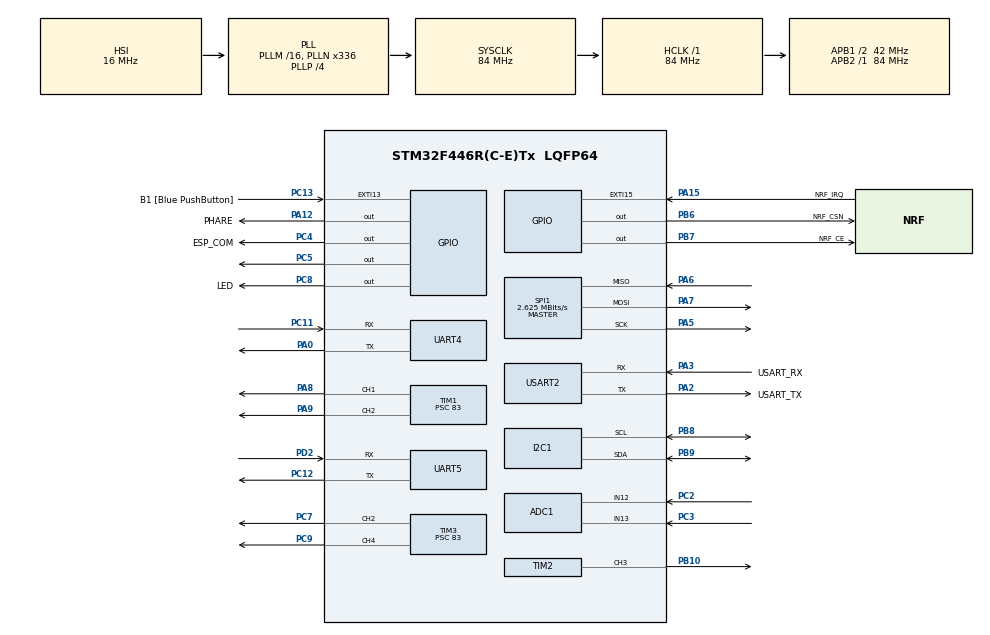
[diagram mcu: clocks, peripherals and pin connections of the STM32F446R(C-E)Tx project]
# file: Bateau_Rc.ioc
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ADC1.Channel-0\#ChannelRegularConversion=ADC_CHANNEL_13
ADC1.Channel-1\#ChannelRegularConversion=ADC_CHANNEL_12
ADC1.ContinuousConvMode=ENABLE
ADC1.DMAContinuousRequests=ENABLE
ADC1.NbrOfConversion=2
ADC1.NbrOfConversionFlag=1
ADC1.Rank-0\#ChannelRegularConversion=1
ADC1.Rank-1\#ChannelRegularConversion=2
ADC1.SamplingTime-0\#ChannelRegularConversion=ADC_SAMPLETIME_480CYCLES
ADC1.SamplingTime-1\#ChannelRegularConversion=ADC_SAMPLETIME_480CYCLES
ADC1.master=1
Dma.ADC1.1.Direction=DMA_PERIPH_TO_MEMORY
Dma.ADC1.1.FIFOMode=DMA_FIFOMODE_DISABLE
Dma.ADC1.1.Instance=DMA2_Stream0
Dma.ADC1.1.MemDataAlignment=DMA_MDATAALIGN_HALFWORD
Dma.ADC1.1.MemInc=DMA_MINC_ENABLE
Dma.ADC1.1.Mode=DMA_CIRCULAR
Dma.ADC1.1.PeriphDataAlignment=DMA_PDATAALIGN_HALFWORD
Dma.ADC1.1.PeriphInc=DMA_PINC_DISABLE
Dma.ADC1.1.Priority=DMA_PRIORITY_LOW
Dma.Request0=UART4_RX
Dma.Request1=ADC1
Dma.UART4_RX.0.Direction=DMA_PERIPH_TO_MEMORY
Dma.UART4_RX.0.FIFOMode=DMA_FIFOMODE_DISABLE
Dma.UART4_RX.0.Instance=DMA1_Stream2
Dma.UART4_RX.0.MemDataAlignment=DMA_MDATAALIGN_BYTE
Dma.UART4_RX.0.MemInc=DMA_MINC_ENABLE
Dma.UART4_RX.0.Mode=DMA_CIRCULAR
Dma.UART4_RX.0.PeriphDataAlignment=DMA_PDATAALIGN_BYTE
Dma.UART4_RX.0.PeriphInc=DMA_PINC_DISABLE
Dma.UART4_RX.0.Priority=DMA_PRIORITY_MEDIUM
FREERTOS.Tasks01=defaultTask,24,128,StartDefaultTask,Default,NULL,Dynamic,NULL,NULL
FREERTOS.configUSE_NEWLIB_REENTRANT=1
Mcu.Family=STM32F4
Mcu.Name=STM32F446R(C-E)Tx
Mcu.Package=LQFP64
NVIC.DMA1_Stream2_IRQn=true\:5\:0\:false\:false\:true\:true\:false\:true\:true
NVIC.DMA2_Stream0_IRQn=true\:5\:0\:false\:false\:true\:true\:false\:true\:true
NVIC.EXTI15_10_IRQn=true\:5\:0\:false\:false\:true\:true\:true\:true\:true
NVIC.PriorityGroup=NVIC_PRIORITYGROUP_4
NVIC.UART4_IRQn=true\:5\:0\:false\:false\:true\:true\:true\:true\:true
PA0-WKUP.Mode=Asynchronous
PA0-WKUP.Signal=UART4_TX
PA12.GPIO_Label=PHARE
PA12.GPIO_PuPd=GPIO_PULLDOWN
PA12.GPIO_Speed=GPIO_SPEED_FREQ_HIGH
PA12.Signal=GPIO_Output
PA13.Signal=SYS_JTMS-SWDIO
PA14.Signal=SYS_JTCK-SWCLK
PA15.GPIO_Label=NRF_IRQ
PA15.GPIO_ModeDefaultEXTI=GPIO_MODE_IT_RISING
PA15.Signal=GPXTI15
PA2.GPIO_Label=USART_TX
PA2.Mode=Asynchronous
PA2.Signal=USART2_TX
PA3.GPIO_Label=USART_RX
PA3.Mode=Asynchronous
PA3.Signal=USART2_RX
PA5.GPIO_Mode=GPIO_MODE_AF_PP
PA5.Mode=Full_Duplex_Master
PA5.Signal=SPI1_SCK
PA6.Mode=Full_Duplex_Master
PA6.Signal=SPI1_MISO
PA7.Mode=Full_Duplex_Master
PA7.Signal=SPI1_MOSI
PA8.Signal=S_TIM1_CH1
PA9.Signal=S_TIM1_CH2
PB10.Signal=S_TIM2_CH3
PB14.Signal=S_TIM12_CH1
PB3.GPIO_Label=SWO
PB3.Signal=SYS_JTDO-SWO
PB6.GPIO_Label=NRF_CSN
PB6.GPIO_Speed=GPIO_SPEED_FREQ_HIGH
PB6.PinState=GPIO_PIN_SET
PB6.Signal=GPIO_Output
PB7.GPIO_Label=NRF_CE
PB7.GPIO_Speed=GPIO_SPEED_FREQ_HIGH
PB7.Signal=GPIO_Output
PB8.Mode=I2C
PB8.Signal=I2C1_SCL
PB9.Mode=I2C
PB9.Signal=I2C1_SDA
PC11.Mode=Asynchronous
PC11.Signal=UART4_RX
PC12.Mode=Asynchronous
PC12.Signal=UART5_TX
PC13.GPIO_Label=B1 [Blue PushButton]
PC13.GPIO_ModeDefaultEXTI=GPIO_MODE_IT_FALLING
PC13.Signal=GPXTI13
PC15-OSC32_OUT.Signal=RCC_OSC32_OUT
PC2.Signal=SharedAnalog_PC2
PC3.Signal=SharedAnalog_PC3
PC4.GPIO_Label=ESP_COM
PC4.GPIO_ModeDefaultOutputPP=GPIO_MODE_OUTPUT_PP
PC4.GPIO_PuPd=GPIO_NOPULL
PC4.GPIO_Speed=GPIO_SPEED_FREQ_HIGH
PC4.PinState=GPIO_PIN_RESET
PC4.Signal=GPIO_Output
PC5.Signal=GPIO_Output
PC7.Signal=S_TIM3_CH2
PC8.GPIO_Label=LED
PC8.GPIO_PuPd=GPIO_PULLDOWN
PC8.GPIO_Speed=GPIO_SPEED_FREQ_HIGH
PC8.Signal=GPIO_Output
PC9.Signal=S_TIM3_CH4
PD2.Mode=Asynchronous
PD2.Signal=UART5_RX
PH0-OSC_IN.Mode=HSE-External-Oscillator
PH0-OSC_IN.Signal=RCC_OSC_IN
PH1-OSC_OUT.Mode=HSE-External-Oscillator
PH1-OSC_OUT.Signal=RCC_OSC_OUT
ProjectManager.HeapSize=0x200
ProjectManager.StackSize=0x400
ProjectManager.TargetToolchain=STM32CubeIDE
RCC.48MHZClocksFreq_Value=84000000
RCC.AHBFreq_Value=84000000
RCC.APB1CLKDivider=RCC_HCLK_DIV2
RCC.APB1Freq_Value=42000000
RCC.APB1TimFreq_Value=84000000
RCC.APB2Freq_Value=84000000
RCC.APB2TimFreq_Value=84000000
RCC.CortexFreq_Value=84000000
RCC.FLatency-AdvancedSettings=FLASH_LATENCY_2
RCC.HCLKFreq_Value=84000000
RCC.HSE_VALUE=8000000
RCC.HSI_VALUE=16000000
RCC.PLLN=336
RCC.PLLP=RCC_PLLP_DIV4
RCC.SYSCLKFreq_VALUE=84000000
RCC.SYSCLKSource=RCC_SYSCLKSOURCE_PLLCLK
RCC.USBFreq_Value=168000000
RCC.VCOOutputFreq_Value=336000000
SH.S_TIM12_CH1.0=TIM12_CH1
SH.S_TIM1_CH1.0=TIM1_CH1,PWM Generation1 CH1
SH.S_TIM1_CH2.0=TIM1_CH2,PWM Generation2 CH2
SH.S_TIM2_CH3.0=TIM2_CH3,PWM Generation3 CH3
SH.S_TIM3_CH2.0=TIM3_CH2,PWM Generation2 CH2
SH.S_TIM3_CH4.0=TIM3_CH4,PWM Generation4 CH4
SH.SharedAnalog_PC2.0=GPIO_Analog
SH.SharedAnalog_PC2.1=ADC1_IN12,IN12
SH.SharedAnalog_PC3.0=GPIO_Analog
SH.SharedAnalog_PC3.1=ADC1_IN13,IN13
SPI1.BaudRatePrescaler=SPI_BAUDRATEPRESCALER_32
SPI1.CalculateBaudRate=2.625 MBits/s
SPI1.Direction=SPI_DIRECTION_2LINES
SPI1.Mode=SPI_MODE_MASTER
SPI1.VirtualType=VM_MASTER
TIM1.Channel-PWM\ Generation1\ CH1=TIM_CHANNEL_1
TIM1.Channel-PWM\ Generation2\ CH2=TIM_CHANNEL_2
TIM1.Period=20000
TIM1.Prescaler=83
TIM2.Channel-PWM\ Generation3\ CH3=TIM_CHANNEL_3
TIM3.Channel-PWM\ Generation2\ CH2=TIM_CHANNEL_2
TIM3.Channel-PWM\ Generation4\ CH4=TIM_CHANNEL_4
TIM3.Period=20000
TIM3.Prescaler=83
UART4.VirtualMode=Asynchronous
UART5.VirtualMode=Asynchronous
USART2.VirtualMode=VM_ASYNC
VP_FREERTOS_VS_CMSIS_V2.Mode=CMSIS_V2
board=NUCLEO-F446RE

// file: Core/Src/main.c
/* USER CODE BEGIN Header */
/**
  ******************************************************************************
  * @file           : main.c
  * @brief          : Main program body - RECEIVER NRF24L01+
  ******************************************************************************
  */
/* USER CODE END Header */
#include "main.h"
#include "cmsis_os.h"

/* USER CODE BEGIN Includes */
#include "nrf.h"
#include <stdio.h>
#include <string.h>
#include "motor.h"
#include "log.h"
#include "rtos_task.h"
#include "gy271.h"
#include "esp_com.h"

/* USER CODE END Includes */

/* USER CODE BEGIN PD */
#define RF_CHANNEL      76
#define DATA_RATE       0
#define TX_POWER        3
#define PAYLOAD_SIZE    32
#define TIMEOUT 5000
#define TIMEOUT_NRF 5
uint8_t TIMEOUT_INA=3;
QMC5883P_t mag;
QMC5883P_Data_t magData;

/* USER CODE END PD */

ADC_HandleTypeDef hadc1;
DMA_HandleTypeDef hdma_adc1;

I2C_HandleTypeDef hi2c1;

SPI_HandleTypeDef hspi1;

TIM_HandleTypeDef htim1;
TIM_HandleTypeDef htim2;
TIM_HandleTypeDef htim3;

UART_HandleTypeDef huart4;
UART_HandleTypeDef huart5;
UART_HandleTypeDef huart2;
DMA_HandleTypeDef hdma_uart4_rx;

/* Definitions for defaultTask */
osThreadId_t defaultTaskHandle;
const osThreadAttr_t defaultTask_attributes = {
  .name = "defaultTask",
  .stack_size = 128 * 4,
  .priority = (osPriority_t) osPriorityNormal,
};
/* USER CODE BEGIN PV */
uint8_t rx_address[5] = {0xE6, 0xE6, 0xE6, 0xE6, 0xE6};
uint32_t packets_received = 0;
uint32_t last_received_time = 0;

uint8_t config, status, fifo, en_aa, en_rxaddr;
uint8_t rx_addr_p0[5];
uint8_t isConnected = 0;

/* USER CODE END PV */

void SystemClock_Config(void);
static void MX_GPIO_Init(void);
static void MX_DMA_Init(void);
static void MX_USART2_UART_Init(void);
static void MX_SPI1_Init(void);
static void MX_TIM3_Init(void);
static void MX_TIM1_Init(void);
static void MX_TIM2_Init(void);
static void MX_I2C1_Init(void);
static void MX_UART4_Init(void);
static void MX_ADC1_Init(void);
static void MX_UART5_Init(void);
void StartDefaultTask(void *argument);

/* USER CODE BEGIN 0 */

#ifdef __GNUC__
int __io_putchar(int ch)
{
    HAL_UART_Transmit(&huart2, (uint8_t *)&ch, 1, HAL_MAX_DELAY);
    return ch;
}
#endif

int _write(int file, char *ptr, int len) {
    HAL_UART_Transmit(&huart2, (uint8_t*)ptr, len, HAL_MAX_DELAY);
    return len;
}

void init_tim(void){
	HAL_TIM_PWM_Start(&htim3, TIM_CHANNEL_2);
	HAL_TIM_PWM_Start(&htim1, TIM_CHANNEL_2);
	HAL_TIM_PWM_Start(&htim1, TIM_CHANNEL_1);
	HAL_TIM_PWM_Start(&htim3, TIM_CHANNEL_4);
	HAL_TIM_PWM_Start(&htim2, TIM_CHANNEL_3);
}

void I2C_Scan(I2C_HandleTypeDef *hi2c)
{
    printf("Scanning I2C bus:\r\n");
    HAL_StatusTypeDef result;
    uint8_t found = 0;

    for(uint8_t i = 1; i < 128; i++)
    {
        result = HAL_I2C_IsDeviceReady(hi2c, (uint16_t)(i << 1), 2, 10);

        if(result == HAL_OK)
        {
            printf("Device found at address: 0x%02X\r\n", i);
            found++;
        }
    }

    if(found == 0)
    {
        printf("No I2C devices found!\r\n");
    }
    else
    {
        printf("Total devices: %d\r\n", found);
    }
}

void SetServoStarting(uint8_t gauche, uint8_t droit, uint8_t bas){
	Servo_SetAngleGauche(gauche);
	Servo_SetAngleDroit(droit);
	Servo_SetAngleBas(bas);
}

uint8_t InitNrf(void){
	LOG_INFO("\r\n========================================\r\n");
	LOG_INFO("     NRF24L01+ - MODE RECEIVER\r\n");
	LOG_INFO("============================================\r\n");
	HAL_Delay(500);
	LOG_INFO("Initialisation NRF24...\r\n");
	  if (nrf24_init(RF_CHANNEL, DATA_RATE, TX_POWER) != 0) {
	      LOG_ERROR("ERROR INIT NRF24\r\n");
	      return 0;
	  }
	  HAL_Delay(100);
	  nrf24_set_rx_address(nrf24_rx_address, 0);
	  nrf24_set_tx_address(nrf24_rx_address);
	  if (HAL_GPIO_ReadPin(NRF_CE_GPIO_Port, NRF_CE_Pin) == GPIO_PIN_RESET) {
	      LOG_INFO("CE: LOW (OK - standby mode)\r\n");  // ← C'EST NORMAL
	  } else {
	      LOG_ERROR("CE: HIGH (ERROR!) - forcing LOW\r\n");
	      HAL_GPIO_WritePin(NRF_CE_GPIO_Port, NRF_CE_Pin, GPIO_PIN_RESET);
	  }
	  nrf24_start_listening();
	  HAL_GPIO_WritePin(GPIOA, GPIO_PIN_12, GPIO_PIN_RESET);

	  return 1;
}

/* USER CODE END 0 */

int main(void)
{

  /* USER CODE BEGIN 1 */
	uint8_t counter_nrf = 0;
  /* USER CODE END 1 */

  /* MCU Configuration--------------------------------------------------------*/

  /* Reset of all peripherals, Initializes the Flash interface and the Systick. */
  HAL_Init();

  /* Configure the system clock */
  SystemClock_Config();

  /* Initialize all configured peripherals */
  MX_GPIO_Init();
  MX_DMA_Init();
  MX_USART2_UART_Init();
  MX_SPI1_Init();
  MX_TIM3_Init();
  MX_TIM1_Init();
  MX_TIM2_Init();
  MX_I2C1_Init();
  MX_UART4_Init();
  MX_ADC1_Init();
  MX_UART5_Init();
  /* USER CODE BEGIN 2 */

  init_tim();
  HAL_Delay(100);
  SetServoStarting(90, 0, 0);
  //ESC_ZTW_Force_Calibration();
  ESC_Initialize();
  //ESC_ZTW_EnterProgramMode();
  //ESC_ZTW_Set_RunningMode_Value2();
  //ESC_ZTW_Calibration_Bidirectional();
  LOG_INFO("PASS");
  do{
	  isConnected = InitNrf();
	  counter_nrf ++;
	  HAL_Delay(150);
	  printf("ERROR %u", counter_nrf);
  }
  while(!isConnected && counter_nrf < TIMEOUT_NRF);
  if(!isConnected)Error_Handler();
  if (QMC5883P_Init(&mag, &hi2c1) != QMC_OK)
      {
	  printf("ERROR");
          Error_Handler();
      }
  QMC5883P_SetHardIronOffsets(&mag, -0.14f, 0.02f, -0.39f);
  QMC5883P_SetSoftIronScales(&mag, 0.838f, 0.753f, 2.087f);
  printf("DONE");
  //CompassCalibration();
  /* USER CODE END 2 */

  /* Init scheduler */
  osKernelInitialize();

  /* USER CODE BEGIN RTOS_QUEUES */
  /* add queues, ... */
  nrfMutex = osMutexNew(&nrfMutex_attributes);
  InitQueue();
  /* USER CODE END RTOS_QUEUES */

  /* Create the thread(s) */
  /* creation of defaultTask */
  defaultTaskHandle = osThreadNew(StartDefaultTask, NULL, &defaultTask_attributes);

  /* USER CODE BEGIN RTOS_THREADS */
  /* add threads, ... */
  ListeningNrfHandle = osThreadNew(ListeningNrf, NULL, &listener_attr);
  //DebugNrfFifoHandle = osThreadNew(DebugFifoNrf, NULL, &debugfifo_attr);
  MotorTaskHandle = osThreadNew(MotorTask, NULL, &Motor_Attributes);
  WatchDogNRFHandle = osThreadNew(WatchDogNrfTask, NULL, &watchDogNRF_attributes);
  CompassHandle = osThreadNew(CompassTask, NULL, &compass_attributes);
  GpsHandle = osThreadNew(GpsTask, NULL, &gps_attributes);
  BatteryHandle = osThreadNew(BatteryTask, NULL, &battery_attributes);
  ReturnHomeHandle = osThreadNew(ReturnToHomeTask, NULL, &returnHome_attributes);
  ServoTaskHandle = osThreadNew(ServoTask,NULL,&servo_attributes);
  EspComHandle = osThreadNew(EspComTask, NULL, &espcom_attributes);
  /* USER CODE END RTOS_THREADS */

  /* Start scheduler */
  osKernelStart();

  /* We should never get here as control is now taken by the scheduler */

  /* Infinite loop */
  while (1)
  {

    /* USER CODE BEGIN 3 */

	  //float Vbus = INA219_GetBusVoltage_V(&ina219_sensor);

	  //printf("VBus: %.2f V, I: %.2f A, P: %.2f W\r\n", Vbus, I_load, P_load);

  }
  /* USER CODE END 3 */
}

void SystemClock_Config(void)
{
  RCC_OscInitTypeDef RCC_OscInitStruct = {0};
  RCC_ClkInitTypeDef RCC_ClkInitStruct = {0};

  /** Configure the main internal regulator output voltage
  */
  __HAL_RCC_PWR_CLK_ENABLE();
  __HAL_PWR_VOLTAGESCALING_CONFIG(PWR_REGULATOR_VOLTAGE_SCALE3);

  /** Initializes the RCC Oscillators according to the specified parameters
  * in the RCC_OscInitTypeDef structure.
  */
  RCC_OscInitStruct.OscillatorType = RCC_OSCILLATORTYPE_HSI;
  RCC_OscInitStruct.HSIState = RCC_HSI_ON;
  RCC_OscInitStruct.HSICalibrationValue = RCC_HSICALIBRATION_DEFAULT;
  RCC_OscInitStruct.PLL.PLLState = RCC_PLL_ON;
  RCC_OscInitStruct.PLL.PLLSource = RCC_PLLSOURCE_HSI;
  RCC_OscInitStruct.PLL.PLLM = 16;
  RCC_OscInitStruct.PLL.PLLN = 336;
  RCC_OscInitStruct.PLL.PLLP = RCC_PLLP_DIV4;
  RCC_OscInitStruct.PLL.PLLQ = 2;
  RCC_OscInitStruct.PLL.PLLR = 2;
  if (HAL_RCC_OscConfig(&RCC_OscInitStruct) != HAL_OK)
  {
    Error_Handler();
  }

  /** Initializes the CPU, AHB and APB buses clocks
  */
  RCC_ClkInitStruct.ClockType = RCC_CLOCKTYPE_HCLK|RCC_CLOCKTYPE_SYSCLK
                              |RCC_CLOCKTYPE_PCLK1|RCC_CLOCKTYPE_PCLK2;
  RCC_ClkInitStruct.SYSCLKSource = RCC_SYSCLKSOURCE_PLLCLK;
  RCC_ClkInitStruct.AHBCLKDivider = RCC_SYSCLK_DIV1;
  RCC_ClkInitStruct.APB1CLKDivider = RCC_HCLK_DIV2;
  RCC_ClkInitStruct.APB2CLKDivider = RCC_HCLK_DIV1;

  if (HAL_RCC_ClockConfig(&RCC_ClkInitStruct, FLASH_LATENCY_2) != HAL_OK)
  {
    Error_Handler();
  }
}

static void MX_ADC1_Init(void)
{

  ADC_ChannelConfTypeDef sConfig = {0};

  /** Configure the global features of the ADC (Clock, Resolution, Data Alignment and number of conversion)
  */
  hadc1.Instance = ADC1;
  hadc1.Init.ClockPrescaler = ADC_CLOCK_SYNC_PCLK_DIV4;
  hadc1.Init.Resolution = ADC_RESOLUTION_12B;
  hadc1.Init.ScanConvMode = ENABLE;
  hadc1.Init.ContinuousConvMode = ENABLE;
  hadc1.Init.DiscontinuousConvMode = DISABLE;
  hadc1.Init.ExternalTrigConvEdge = ADC_EXTERNALTRIGCONVEDGE_NONE;
  hadc1.Init.ExternalTrigConv = ADC_SOFTWARE_START;
  hadc1.Init.DataAlign = ADC_DATAALIGN_RIGHT;
  hadc1.Init.NbrOfConversion = 2;
  hadc1.Init.DMAContinuousRequests = ENABLE;
  hadc1.Init.EOCSelection = ADC_EOC_SINGLE_CONV;
  if (HAL_ADC_Init(&hadc1) != HAL_OK)
  {
    Error_Handler();
  }

  /** Configure for the selected ADC regular channel its corresponding rank in the sequencer and its sample time.
  */
  sConfig.Channel = ADC_CHANNEL_13;
  sConfig.Rank = 1;
  sConfig.SamplingTime = ADC_SAMPLETIME_480CYCLES;
  if (HAL_ADC_ConfigChannel(&hadc1, &sConfig) != HAL_OK)
  {
    Error_Handler();
  }

  /** Configure for the selected ADC regular channel its corresponding rank in the sequencer and its sample time.
  */
  sConfig.Channel = ADC_CHANNEL_12;
  sConfig.Rank = 2;
  if (HAL_ADC_ConfigChannel(&hadc1, &sConfig) != HAL_OK)
  {
    Error_Handler();
  }

}

static void MX_I2C1_Init(void)
{

  hi2c1.Instance = I2C1;
  hi2c1.Init.ClockSpeed = 100000;
  hi2c1.Init.DutyCycle = I2C_DUTYCYCLE_2;
  hi2c1.Init.OwnAddress1 = 0;
  hi2c1.Init.AddressingMode = I2C_ADDRESSINGMODE_7BIT;
  hi2c1.Init.DualAddressMode = I2C_DUALADDRESS_DISABLE;
  hi2c1.Init.OwnAddress2 = 0;
  hi2c1.Init.GeneralCallMode = I2C_GENERALCALL_DISABLE;
  hi2c1.Init.NoStretchMode = I2C_NOSTRETCH_DISABLE;
  if (HAL_I2C_Init(&hi2c1) != HAL_OK)
  {
    Error_Handler();
  }

}

static void MX_SPI1_Init(void)
{

  /* SPI1 parameter configuration*/
  hspi1.Instance = SPI1;
  hspi1.Init.Mode = SPI_MODE_MASTER;
  hspi1.Init.Direction = SPI_DIRECTION_2LINES;
  hspi1.Init.DataSize = SPI_DATASIZE_8BIT;
  hspi1.Init.CLKPolarity = SPI_POLARITY_LOW;
  hspi1.Init.CLKPhase = SPI_PHASE_1EDGE;
  hspi1.Init.NSS = SPI_NSS_SOFT;
  hspi1.Init.BaudRatePrescaler = SPI_BAUDRATEPRESCALER_32;
  hspi1.Init.FirstBit = SPI_FIRSTBIT_MSB;
  hspi1.Init.TIMode = SPI_TIMODE_DISABLE;
  hspi1.Init.CRCCalculation = SPI_CRCCALCULATION_DISABLE;
  hspi1.Init.CRCPolynomial = 10;
  if (HAL_SPI_Init(&hspi1) != HAL_OK)
  {
    Error_Handler();
  }

}

static void MX_TIM1_Init(void)
{

  TIM_MasterConfigTypeDef sMasterConfig = {0};
  TIM_OC_InitTypeDef sConfigOC = {0};
  TIM_BreakDeadTimeConfigTypeDef sBreakDeadTimeConfig = {0};

  htim1.Instance = TIM1;
  htim1.Init.Prescaler = 83;
  htim1.Init.CounterMode = TIM_COUNTERMODE_UP;
  htim1.Init.Period = 20000;
  htim1.Init.ClockDivision = TIM_CLOCKDIVISION_DIV1;
  htim1.Init.RepetitionCounter = 0;
  htim1.Init.AutoReloadPreload = TIM_AUTORELOAD_PRELOAD_DISABLE;
  if (HAL_TIM_PWM_Init(&htim1) != HAL_OK)
  {
    Error_Handler();
  }
  sMasterConfig.MasterOutputTrigger = TIM_TRGO_RESET;
  sMasterConfig.MasterSlaveMode = TIM_MASTERSLAVEMODE_DISABLE;
  if (HAL_TIMEx_MasterConfigSynchronization(&htim1, &sMasterConfig) != HAL_OK)
  {
    Error_Handler();
  }
  sConfigOC.OCMode = TIM_OCMODE_PWM1;
  sConfigOC.Pulse = 0;
  sConfigOC.OCPolarity = TIM_OCPOLARITY_HIGH;
  sConfigOC.OCNPolarity = TIM_OCNPOLARITY_HIGH;
  sConfigOC.OCFastMode = TIM_OCFAST_DISABLE;
  sConfigOC.OCIdleState = TIM_OCIDLESTATE_RESET;
  sConfigOC.OCNIdleState = TIM_OCNIDLESTATE_RESET;
  if (HAL_TIM_PWM_ConfigChannel(&htim1, &sConfigOC, TIM_CHANNEL_1) != HAL_OK)
  {
    Error_Handler();
  }
  if (HAL_TIM_PWM_ConfigChannel(&htim1, &sConfigOC, TIM_CHANNEL_2) != HAL_OK)
  {
    Error_Handler();
  }
  sBreakDeadTimeConfig.OffStateRunMode = TIM_OSSR_DISABLE;
  sBreakDeadTimeConfig.OffStateIDLEMode = TIM_OSSI_DISABLE;
  sBreakDeadTimeConfig.LockLevel = TIM_LOCKLEVEL_OFF;
  sBreakDeadTimeConfig.DeadTime = 0;
  sBreakDeadTimeConfig.BreakState = TIM_BREAK_DISABLE;
  sBreakDeadTimeConfig.BreakPolarity = TIM_BREAKPOLARITY_HIGH;
  sBreakDeadTimeConfig.AutomaticOutput = TIM_AUTOMATICOUTPUT_DISABLE;
  if (HAL_TIMEx_ConfigBreakDeadTime(&htim1, &sBreakDeadTimeConfig) != HAL_OK)
  {
    Error_Handler();
  }
  HAL_TIM_MspPostInit(&htim1);

}

static void MX_TIM2_Init(void)
{

  TIM_MasterConfigTypeDef sMasterConfig = {0};
  TIM_OC_InitTypeDef sConfigOC = {0};

  htim2.Instance = TIM2;
  htim2.Init.Prescaler = 0;
  htim2.Init.CounterMode = TIM_COUNTERMODE_UP;
  htim2.Init.Period = 4294967295;
  htim2.Init.ClockDivision = TIM_CLOCKDIVISION_DIV1;
  htim2.Init.AutoReloadPreload = TIM_AUTORELOAD_PRELOAD_DISABLE;
  if (HAL_TIM_PWM_Init(&htim2) != HAL_OK)
  {
    Error_Handler();
  }
  sMasterConfig.MasterOutputTrigger = TIM_TRGO_RESET;
  sMasterConfig.MasterSlaveMode = TIM_MASTERSLAVEMODE_DISABLE;
  if (HAL_TIMEx_MasterConfigSynchronization(&htim2, &sMasterConfig) != HAL_OK)
  {
    Error_Handler();
  }
  sConfigOC.OCMode = TIM_OCMODE_PWM1;
  sConfigOC.Pulse = 0;
  sConfigOC.OCPolarity = TIM_OCPOLARITY_HIGH;
  sConfigOC.OCFastMode = TIM_OCFAST_DISABLE;
  if (HAL_TIM_PWM_ConfigChannel(&htim2, &sConfigOC, TIM_CHANNEL_3) != HAL_OK)
  {
    Error_Handler();
  }
  HAL_TIM_MspPostInit(&htim2);

}

static void MX_TIM3_Init(void)
{

  TIM_MasterConfigTypeDef sMasterConfig = {0};
  TIM_OC_InitTypeDef sConfigOC = {0};

  htim3.Instance = TIM3;
  htim3.Init.Prescaler = 83;
  htim3.Init.CounterMode = TIM_COUNTERMODE_UP;
  htim3.Init.Period = 20000;
  htim3.Init.ClockDivision = TIM_CLOCKDIVISION_DIV1;
  htim3.Init.AutoReloadPreload = TIM_AUTORELOAD_PRELOAD_DISABLE;
  if (HAL_TIM_PWM_Init(&htim3) != HAL_OK)
  {
    Error_Handler();
  }
  sMasterConfig.MasterOutputTrigger = TIM_TRGO_RESET;
  sMasterConfig.MasterSlaveMode = TIM_MASTERSLAVEMODE_DISABLE;
  if (HAL_TIMEx_MasterConfigSynchronization(&htim3, &sMasterConfig) != HAL_OK)
  {
    Error_Handler();
  }
  sConfigOC.OCMode = TIM_OCMODE_PWM1;
  sConfigOC.Pulse = 0;
  sConfigOC.OCPolarity = TIM_OCPOLARITY_HIGH;
  sConfigOC.OCFastMode = TIM_OCFAST_DISABLE;
  if (HAL_TIM_PWM_ConfigChannel(&htim3, &sConfigOC, TIM_CHANNEL_2) != HAL_OK)
  {
    Error_Handler();
  }
  if (HAL_TIM_PWM_ConfigChannel(&htim3, &sConfigOC, TIM_CHANNEL_4) != HAL_OK)
  {
    Error_Handler();
  }
  HAL_TIM_MspPostInit(&htim3);

}

static void MX_UART4_Init(void)
{

  huart4.Instance = UART4;
  huart4.Init.BaudRate = 115200;
  huart4.Init.WordLength = UART_WORDLENGTH_8B;
  huart4.Init.StopBits = UART_STOPBITS_1;
  huart4.Init.Parity = UART_PARITY_NONE;
  huart4.Init.Mode = UART_MODE_TX_RX;
  huart4.Init.HwFlowCtl = UART_HWCONTROL_NONE;
  huart4.Init.OverSampling = UART_OVERSAMPLING_16;
  if (HAL_UART_Init(&huart4) != HAL_OK)
  {
    Error_Handler();
  }

}

static void MX_UART5_Init(void)
{

  huart5.Instance = UART5;
  huart5.Init.BaudRate = 115200;
  huart5.Init.WordLength = UART_WORDLENGTH_8B;
  huart5.Init.StopBits = UART_STOPBITS_1;
  huart5.Init.Parity = UART_PARITY_NONE;
  huart5.Init.Mode = UART_MODE_TX_RX;
  huart5.Init.HwFlowCtl = UART_HWCONTROL_NONE;
  huart5.Init.OverSampling = UART_OVERSAMPLING_16;
  if (HAL_UART_Init(&huart5) != HAL_OK)
  {
    Error_Handler();
  }

}

static void MX_USART2_UART_Init(void)
{

  huart2.Instance = USART2;
  huart2.Init.BaudRate = 115200;
  huart2.Init.WordLength = UART_WORDLENGTH_8B;
  huart2.Init.StopBits = UART_STOPBITS_1;
  huart2.Init.Parity = UART_PARITY_NONE;
  huart2.Init.Mode = UART_MODE_TX_RX;
  huart2.Init.HwFlowCtl = UART_HWCONTROL_NONE;
  huart2.Init.OverSampling = UART_OVERSAMPLING_16;
  if (HAL_UART_Init(&huart2) != HAL_OK)
  {
    Error_Handler();
  }

}

static void MX_DMA_Init(void)
{

  /* DMA controller clock enable */
  __HAL_RCC_DMA1_CLK_ENABLE();
  __HAL_RCC_DMA2_CLK_ENABLE();

  /* DMA interrupt init */
  /* DMA1_Stream2_IRQn interrupt configuration */
  HAL_NVIC_SetPriority(DMA1_Stream2_IRQn, 5, 0);
  HAL_NVIC_EnableIRQ(DMA1_Stream2_IRQn);
  /* DMA2_Stream0_IRQn interrupt configuration */
  HAL_NVIC_SetPriority(DMA2_Stream0_IRQn, 5, 0);
  HAL_NVIC_EnableIRQ(DMA2_Stream0_IRQn);

}

static void MX_GPIO_Init(void)
{
  GPIO_InitTypeDef GPIO_InitStruct = {0};

  /* GPIO Ports Clock Enable */
  __HAL_RCC_GPIOC_CLK_ENABLE();
  __HAL_RCC_GPIOH_CLK_ENABLE();
  __HAL_RCC_GPIOA_CLK_ENABLE();
  __HAL_RCC_GPIOB_CLK_ENABLE();
  __HAL_RCC_GPIOD_CLK_ENABLE();

  /*Configure GPIO pin Output Level */
  HAL_GPIO_WritePin(GPIOC, ESP_COM_Pin|GPIO_PIN_5|LED_Pin, GPIO_PIN_RESET);

  /*Configure GPIO pin Output Level */
  HAL_GPIO_WritePin(PHARE_GPIO_Port, PHARE_Pin, GPIO_PIN_RESET);

  /*Configure GPIO pin Output Level */
  HAL_GPIO_WritePin(NRF_CSN_GPIO_Port, NRF_CSN_Pin, GPIO_PIN_SET);

  /*Configure GPIO pin Output Level */
  HAL_GPIO_WritePin(NRF_CE_GPIO_Port, NRF_CE_Pin, GPIO_PIN_RESET);

  /*Configure GPIO pin : B1_Pin */
  GPIO_InitStruct.Pin = B1_Pin;
  GPIO_InitStruct.Mode = GPIO_MODE_IT_FALLING;
  GPIO_InitStruct.Pull = GPIO_NOPULL;
  HAL_GPIO_Init(B1_GPIO_Port, &GPIO_InitStruct);

  /*Configure GPIO pin : ESP_COM_Pin */
  GPIO_InitStruct.Pin = ESP_COM_Pin;
  GPIO_InitStruct.Mode = GPIO_MODE_OUTPUT_PP;
  GPIO_InitStruct.Pull = GPIO_NOPULL;
  GPIO_InitStruct.Speed = GPIO_SPEED_FREQ_HIGH;
  HAL_GPIO_Init(ESP_COM_GPIO_Port, &GPIO_InitStruct);

  /*Configure GPIO pin : PC5 */
  GPIO_InitStruct.Pin = GPIO_PIN_5;
  GPIO_InitStruct.Mode = GPIO_MODE_OUTPUT_PP;
  GPIO_InitStruct.Pull = GPIO_NOPULL;
  GPIO_InitStruct.Speed = GPIO_SPEED_FREQ_LOW;
  HAL_GPIO_Init(GPIOC, &GPIO_InitStruct);

  /*Configure GPIO pin : PB14 */
  GPIO_InitStruct.Pin = GPIO_PIN_14;
  GPIO_InitStruct.Mode = GPIO_MODE_AF_PP;
  GPIO_InitStruct.Pull = GPIO_NOPULL;
  GPIO_InitStruct.Speed = GPIO_SPEED_FREQ_LOW;
  GPIO_InitStruct.Alternate = GPIO_AF9_TIM12;
  HAL_GPIO_Init(GPIOB, &GPIO_InitStruct);

  /*Configure GPIO pin : LED_Pin */
  GPIO_InitStruct.Pin = LED_Pin;
  GPIO_InitStruct.Mode = GPIO_MODE_OUTPUT_PP;
  GPIO_InitStruct.Pull = GPIO_PULLDOWN;
  GPIO_InitStruct.Speed = GPIO_SPEED_FREQ_HIGH;
  HAL_GPIO_Init(LED_GPIO_Port, &GPIO_InitStruct);

  /*Configure GPIO pin : PHARE_Pin */
  GPIO_InitStruct.Pin = PHARE_Pin;
  GPIO_InitStruct.Mode = GPIO_MODE_OUTPUT_PP;
  GPIO_InitStruct.Pull = GPIO_PULLDOWN;
  GPIO_InitStruct.Speed = GPIO_SPEED_FREQ_HIGH;
  HAL_GPIO_Init(PHARE_GPIO_Port, &GPIO_InitStruct);

  /*Configure GPIO pin : NRF_IRQ_Pin */
  GPIO_InitStruct.Pin = NRF_IRQ_Pin;
  GPIO_InitStruct.Mode = GPIO_MODE_IT_RISING;
  GPIO_InitStruct.Pull = GPIO_NOPULL;
  HAL_GPIO_Init(NRF_IRQ_GPIO_Port, &GPIO_InitStruct);

  /*Configure GPIO pins : NRF_CSN_Pin NRF_CE_Pin */
  GPIO_InitStruct.Pin = NRF_CSN_Pin|NRF_CE_Pin;
  GPIO_InitStruct.Mode = GPIO_MODE_OUTPUT_PP;
  GPIO_InitStruct.Pull = GPIO_NOPULL;
  GPIO_InitStruct.Speed = GPIO_SPEED_FREQ_HIGH;
  HAL_GPIO_Init(GPIOB, &GPIO_InitStruct);

  /* EXTI interrupt init*/
  HAL_NVIC_SetPriority(EXTI15_10_IRQn, 5, 0);
  HAL_NVIC_EnableIRQ(EXTI15_10_IRQn);

}

void StartDefaultTask(void *argument)
{
  /* USER CODE BEGIN 5 */
	uint8_t req;
	static uint8_t rx_buf[256];
	uint16_t len;
	wakeUpEsp(ESP_COM_GPIO_Port, ESP_COM_Pin);
	osDelay(500);
	req = 0xA1;
	HAL_UART_Transmit(&huart5, &req, 1, 100);
	if (HAL_UARTEx_ReceiveToIdle(&huart5, rx_buf, sizeof(rx_buf),
								  &len, 2000) == HAL_OK) {
		rx_buf[len] = '\0';
		parse_config_uart((char*)rx_buf);
		LOG_INFO("Config reçue: %s\r\n", rx_buf);
	} else {
		LOG_INFO("Config: timeout, valeurs par défaut\r\n");
	}
	req = 0xA2;
	HAL_UART_Transmit(&huart5, &req, 1, 100);
	if (HAL_UARTEx_ReceiveToIdle(&huart5, rx_buf, sizeof(rx_buf),
								  &len, 2000) == HAL_OK) {
		rx_buf[len] = '\0';
		parse_gps_array_uart((char*)rx_buf);
		LOG_INFO("GPS reçu: %s\r\n", rx_buf);
	} else {
		LOG_INFO("GPS: timeout, tableau vide\r\n");
	}
	nrf24_start_listening();
	printf("ECOUTE\n\r");
	osDelay(10);
	if (MotorTaskHandle != NULL) {
	        osThreadFlagsSet(MotorTaskHandle, START_FLAG);
	    } else {
	        printf("ERREUR: MotorTask non creee !\r\n");
	    }
	    osDelay(10);
	    printf("DONNNE\n\r");
	    // --- NRF24 ---
	    if (ListeningNrfHandle != NULL) {
	        osThreadFlagsSet(ListeningNrfHandle, START_FLAG);
	    } else {
	        printf("ERREUR: ListeningNrfTask non creee !\r\n");
	    }
	    osDelay(10);

	    // --- BOUSSOLE ---
	    if (CompassHandle != NULL) {
	        osThreadFlagsSet(CompassHandle, START_FLAG);
	    } else {
	        printf("ERREUR: CompassTask non creee !\r\n");
	    }
	    osDelay(10);

	    // --- GPS ---
	    if (GpsHandle != NULL) {
	        osThreadFlagsSet(GpsHandle, START_FLAG);
	    } else {
	        printf("ERREUR: GpsTask non creee !\r\n");
	    }
	    osDelay(10);

	    // --- BATTERIE ---
	    if (BatteryHandle != NULL) {
	        osThreadFlagsSet(BatteryHandle, START_FLAG);
	    } else {
	        printf("ERREUR: BatteryTask non creee !\r\n");
	    }
	    osDelay(10);

	    // --- SERVOMOTEURS ---
	    if (ServoTaskHandle != NULL) {
	        osThreadFlagsSet(ServoTaskHandle, START_FLAG);
	    } else {
	        printf("ERREUR: ServoTask non creee !\r\n");
	    }
	    osDelay(10);

	    //--- COM ESP32 ---
	   if (EspComHandle != NULL) {
	        osThreadFlagsSet(EspComHandle, START_FLAG);
	    } else {
	        LOG_INFO("ERREUR: EspComTask non creee !\r\n");
	    }
	    osDelay(10);
	    printf("Toutes les tâches démarrées\r\n");
  /* Infinite loop */
  for(;;)
  {
    osDelay(1000);
  }
  /* USER CODE END 5 */
}

void Error_Handler(void)
{
  __disable_irq();
  while (1)
  {
  }
}
